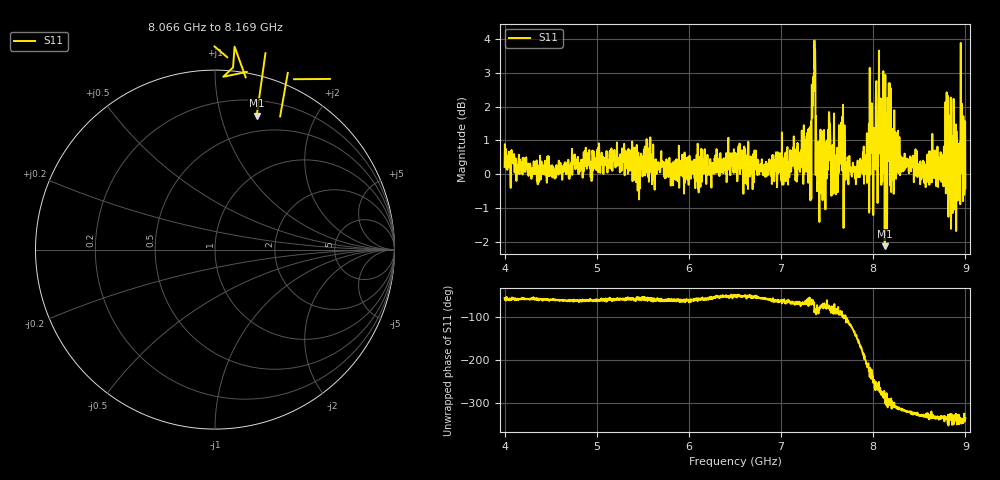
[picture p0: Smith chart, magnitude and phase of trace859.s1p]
! Created with skrf 1.8.0 (http://scikit-rf.org).
# Hz S RI R 50.0
!freq ReS11 ImS11
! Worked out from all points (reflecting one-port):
!   1601 points, 4 GHz to 9 GHz, reference 50 ohm
!   lowest |S11| = -2.1 dB at 8.125 GHz (marker M1), VSWR 8.18, Z = 16.9 + j65.1 ohm
!   phase of S11 starts at -56 deg and turns -279 deg over the sweep
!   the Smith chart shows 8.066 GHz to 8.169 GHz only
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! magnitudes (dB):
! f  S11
! 4 GHz  0.2
! 4.625 GHz  -0.2
! 5.25 GHz  0.1
! 5.875 GHz  0.1
! 6.5 GHz  0.2
! 7.125 GHz  0.6
! 7.306 GHz  1.0
! 7.356 GHz  3.0
! 7.4 GHz  -0.3
! 7.412 GHz  -0.5
! 7.459 GHz  0.0
! 7.509 GHz  0.1
! 7.591 GHz  0.3
! 7.65 GHz  1.5
! 7.703 GHz  -0.1
! 7.75 GHz  0.2
! 7.9 GHz  -0.3
! 8.053 GHz  0.2
! 8.072 GHz  1.1
! 8.125 GHz  -2.1
! 8.153 GHz  0.5
! 8.216 GHz  1.4
! 8.375 GHz  0.2
! 8.725 GHz  0.3
! 8.816 GHz  -1.3
! 8.869 GHz  -0.5
! 8.959 GHz  2.1
! 9 GHz  -0.4
